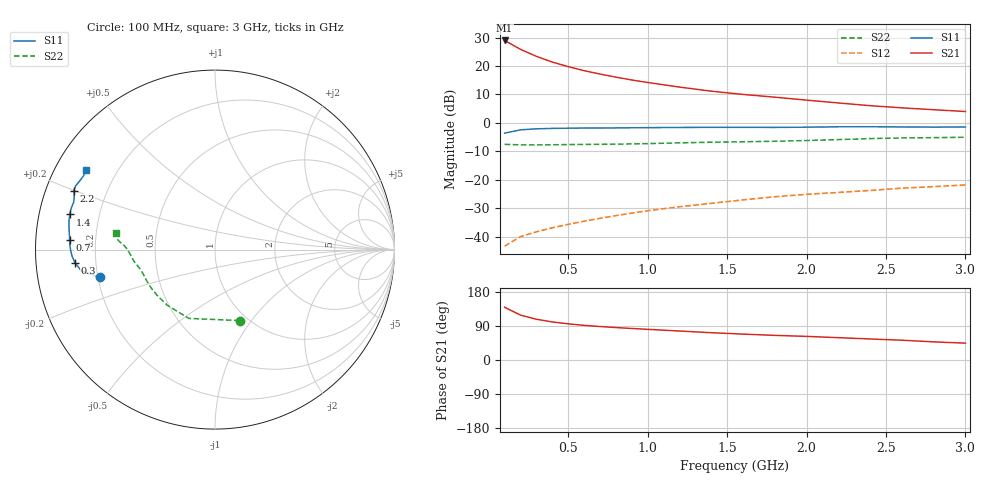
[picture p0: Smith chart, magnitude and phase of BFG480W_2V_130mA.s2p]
! Filename: 2130BFG480.001
! Title: BFG480W
! Bias: Vce=2V; Ic=130mA
! Company: Philips Semiconductors NL
! User: Quality&Reliability T&D
! Measure time: 10 Nov 1999 / 11:55:36
#  MHz  S  MA  R 50
! Freq  S11  S21  S12  S22  :
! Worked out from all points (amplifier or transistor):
!   20 points, 100 MHz to 3 GHz, reference 50 ohm
!   highest |S21| = 29.0 dB at 100 MHz (marker M1)
!   |S21| within 3 dB of that: start of sweep to 196.2 MHz
!   unconditionally stable (mu >= 1): start of sweep to end of sweep
!   at 400 MHz: K = 1.15, MAG = 26.8 dB, |S12| = -36.9 dB
!   at 1.2 GHz: K = 1.27, MAG = 17.9 dB, |S12| = -29.5 dB
!   at 3 GHz: K = 1.27, MAG = 9.8 dB, |S12| = -21.8 dB
!   S11 on the Smith chart (normalised r, x): 100 MHz: 0.21, -0.11; 300 MHz: 0.12, -0.05; 700 MHz: 0.10, +0.03; 1.4 GHz: 0.09, +0.12; 2.2 GHz: 0.08, +0.20; 3 GHz: 0.09, +0.28
100  0.6586 -166.5  28.07 139.2  0.006784 61.7  0.4184 -70.9
200  0.7527 -170.8  19.6 118.5  0.009988 56.1  0.4101 -110.8
300  0.7842 -174.7  14.76 107.5  0.01214 57.4  0.4086 -130.8
400  0.7981 -177.6  11.7 100.5  0.01427 60.3  0.4113 -141.9
500  0.8046 -179.9  9.73 95.4  0.01642 63.1  0.415 -149.0
600  0.8094 178.0  8.263 91.5  0.01863 65.2  0.4174 -153.9
700  0.8118 176.2  7.213 88.3  0.02096 67.2  0.4194 -157.6
800  0.8146 174.5  6.355 85.6  0.02337 69.0  0.4219 -160.6
900  0.8185 172.9  5.667 83.2  0.02579 70.7  0.4256 -163.2
1000  0.8225 171.4  5.128 80.9  0.0285 71.3  0.431 -165.5
1200  0.8294 168.7  4.252 76.5  0.03345 72.7  0.4441 -169.1
1400  0.8326 166.4  3.604 72.0  0.03841 73.3  0.4564 -171.9
1600  0.8336 163.9  3.157 68.3  0.04413 73.7  0.4645 -174.4
1800  0.8305 161.4  2.825 65.0  0.05017 73.8  0.4741 -177.1
2000  0.8381 159.4  2.507 62.3  0.05532 74.2  0.4886 179.8
2200  0.8521 157.4  2.237 59.0  0.05976 74.1  0.5077 177.3
2400  0.8538 155.5  2.003 55.5  0.06462 73.4  0.528 175.7
2600  0.8468 153.5  1.834 52.3  0.07099 72.5  0.5421 174.5
2800  0.8403 151.1  1.7 47.8  0.07556 71.0  0.549 172.8
3000  0.8439 148.4  1.581 44.5  0.08096 70.1  0.5573 170.2
